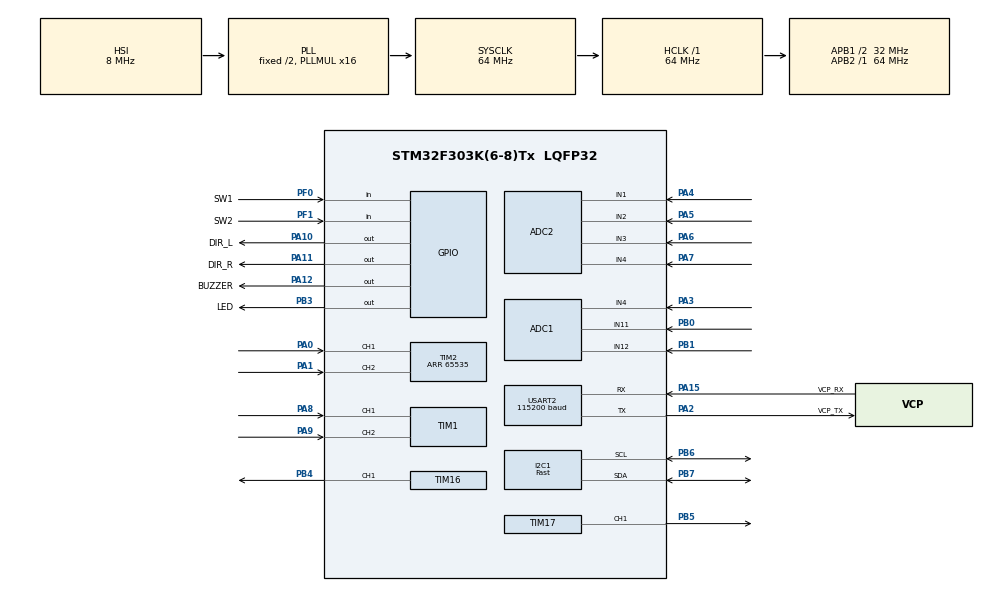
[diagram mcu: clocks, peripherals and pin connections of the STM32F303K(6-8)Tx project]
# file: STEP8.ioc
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ADC1.Channel-3\#ChannelRegularConversion=ADC_CHANNEL_4
ADC1.Channel-4\#ChannelRegularConversion=ADC_CHANNEL_11
ADC1.Channel-5\#ChannelRegularConversion=ADC_CHANNEL_12
ADC1.ContinuousConvMode=DISABLE
ADC1.DMAContinuousRequests=ENABLE
ADC1.DiscontinuousConvMode=ENABLE
ADC1.ExternalTrigConv=ADC_EXTERNALTRIGCONV_T3_TRGO
ADC1.NbrOfConversion=3
ADC1.NbrOfConversionFlag=1
ADC1.NbrOfDiscConversion=3
ADC1.Offset-3\#ChannelRegularConversion=0
ADC1.Offset-4\#ChannelRegularConversion=0
ADC1.Offset-5\#ChannelRegularConversion=0
ADC1.OffsetNumber-3\#ChannelRegularConversion=ADC_OFFSET_NONE
ADC1.OffsetNumber-4\#ChannelRegularConversion=ADC_OFFSET_NONE
ADC1.OffsetNumber-5\#ChannelRegularConversion=ADC_OFFSET_NONE
ADC1.Rank-3\#ChannelRegularConversion=1
ADC1.Rank-4\#ChannelRegularConversion=2
ADC1.Rank-5\#ChannelRegularConversion=3
ADC1.SamplingTime-3\#ChannelRegularConversion=ADC_SAMPLETIME_4CYCLES_5
ADC1.SamplingTime-4\#ChannelRegularConversion=ADC_SAMPLETIME_4CYCLES_5
ADC1.SamplingTime-5\#ChannelRegularConversion=ADC_SAMPLETIME_4CYCLES_5
ADC1.SubFamily=STM32F303x8
ADC1.master=1
ADC2.Channel-3\#ChannelRegularConversion=ADC_CHANNEL_1
ADC2.Channel-4\#ChannelRegularConversion=ADC_CHANNEL_2
ADC2.Channel-5\#ChannelRegularConversion=ADC_CHANNEL_3
ADC2.Channel-6\#ChannelRegularConversion=ADC_CHANNEL_4
ADC2.ContinuousConvMode=DISABLE
ADC2.DMAContinuousRequests=ENABLE
ADC2.DiscontinuousConvMode=ENABLE
ADC2.ExternalTrigConv=ADC_EXTERNALTRIGCONV_T3_TRGO
ADC2.NbrOfConversion=4
ADC2.NbrOfConversionFlag=1
ADC2.NbrOfDiscConversion=4
ADC2.Offset-3\#ChannelRegularConversion=0
ADC2.Offset-4\#ChannelRegularConversion=0
ADC2.Offset-5\#ChannelRegularConversion=0
ADC2.Offset-6\#ChannelRegularConversion=0
ADC2.OffsetNumber-3\#ChannelRegularConversion=ADC_OFFSET_NONE
ADC2.OffsetNumber-4\#ChannelRegularConversion=ADC_OFFSET_NONE
ADC2.OffsetNumber-5\#ChannelRegularConversion=ADC_OFFSET_NONE
ADC2.OffsetNumber-6\#ChannelRegularConversion=ADC_OFFSET_NONE
ADC2.Rank-3\#ChannelRegularConversion=1
ADC2.Rank-4\#ChannelRegularConversion=2
ADC2.Rank-5\#ChannelRegularConversion=3
ADC2.Rank-6\#ChannelRegularConversion=4
ADC2.SamplingTime-3\#ChannelRegularConversion=ADC_SAMPLETIME_4CYCLES_5
ADC2.SamplingTime-4\#ChannelRegularConversion=ADC_SAMPLETIME_4CYCLES_5
ADC2.SamplingTime-5\#ChannelRegularConversion=ADC_SAMPLETIME_4CYCLES_5
ADC2.SamplingTime-6\#ChannelRegularConversion=ADC_SAMPLETIME_4CYCLES_5
ADC2.SubFamily=STM32F303x8
Dma.ADC1.0.Direction=DMA_PERIPH_TO_MEMORY
Dma.ADC1.0.Instance=DMA1_Channel1
Dma.ADC1.0.MemDataAlignment=DMA_MDATAALIGN_HALFWORD
Dma.ADC1.0.MemInc=DMA_MINC_ENABLE
Dma.ADC1.0.Mode=DMA_CIRCULAR
Dma.ADC1.0.PeriphDataAlignment=DMA_PDATAALIGN_HALFWORD
Dma.ADC1.0.PeriphInc=DMA_PINC_DISABLE
Dma.ADC1.0.Priority=DMA_PRIORITY_LOW
Dma.ADC2.1.Direction=DMA_PERIPH_TO_MEMORY
Dma.ADC2.1.Instance=DMA1_Channel2
Dma.ADC2.1.MemDataAlignment=DMA_MDATAALIGN_HALFWORD
Dma.ADC2.1.MemInc=DMA_MINC_ENABLE
Dma.ADC2.1.Mode=DMA_CIRCULAR
Dma.ADC2.1.PeriphDataAlignment=DMA_PDATAALIGN_HALFWORD
Dma.ADC2.1.PeriphInc=DMA_PINC_DISABLE
Dma.ADC2.1.Priority=DMA_PRIORITY_LOW
Dma.I2C1_RX.2.Direction=DMA_PERIPH_TO_MEMORY
Dma.I2C1_RX.2.Instance=DMA1_Channel3
Dma.I2C1_RX.2.MemDataAlignment=DMA_MDATAALIGN_BYTE
Dma.I2C1_RX.2.MemInc=DMA_MINC_ENABLE
Dma.I2C1_RX.2.Mode=DMA_NORMAL
Dma.I2C1_RX.2.PeriphDataAlignment=DMA_PDATAALIGN_BYTE
Dma.I2C1_RX.2.PeriphInc=DMA_PINC_DISABLE
Dma.I2C1_RX.2.Priority=DMA_PRIORITY_LOW
Dma.I2C1_TX.3.Direction=DMA_MEMORY_TO_PERIPH
Dma.I2C1_TX.3.Instance=DMA1_Channel4
Dma.I2C1_TX.3.MemDataAlignment=DMA_MDATAALIGN_BYTE
Dma.I2C1_TX.3.MemInc=DMA_MINC_ENABLE
Dma.I2C1_TX.3.Mode=DMA_NORMAL
Dma.I2C1_TX.3.PeriphDataAlignment=DMA_PDATAALIGN_BYTE
Dma.I2C1_TX.3.PeriphInc=DMA_PINC_DISABLE
Dma.I2C1_TX.3.Priority=DMA_PRIORITY_LOW
Dma.Request0=ADC1
Dma.Request1=ADC2
Dma.Request2=I2C1_RX
Dma.Request3=I2C1_TX
I2C1.Analog_Filter=I2C_ANALOGFILTER_ENABLE
I2C1.I2C_Speed_Mode=I2C_Fast
I2C1.Speed=400
I2C1.Timing=0x0000020B
Mcu.Family=STM32F3
Mcu.Name=STM32F303K(6-8)Tx
Mcu.Package=LQFP32
NVIC.DMA1_Channel1_IRQn=true\:0\:0\:false\:false\:true\:false\:true\:true
NVIC.DMA1_Channel2_IRQn=true\:0\:0\:false\:false\:true\:false\:true\:true
NVIC.DMA1_Channel3_IRQn=true\:0\:0\:false\:false\:true\:false\:true\:true
NVIC.DMA1_Channel4_IRQn=true\:0\:0\:false\:false\:true\:false\:true\:true
NVIC.I2C1_EV_IRQn=true\:0\:0\:false\:false\:true\:true\:true\:true
NVIC.PriorityGroup=NVIC_PRIORITYGROUP_4
NVIC.TIM6_DAC1_IRQn=true\:0\:0\:false\:false\:true\:true\:true\:true
NVIC.TIM7_DAC2_IRQn=true\:0\:0\:false\:false\:true\:true\:true\:true
PA0.Signal=S_TIM2_CH1_ETR
PA1.Signal=S_TIM2_CH2
PA10.GPIO_Label=DIR_L
PA10.Signal=GPIO_Output
PA11.GPIO_Label=DIR_R
PA11.Signal=GPIO_Output
PA12.GPIO_Label=BUZZER
PA12.Signal=GPIO_Output
PA13.GPIO_Label=SWDIO
PA13.Mode=Serial_Wire
PA13.Signal=SYS_JTMS-SWDIO
PA14.GPIO_Label=SWCLK
PA14.Mode=Serial_Wire
PA14.Signal=SYS_JTCK-SWCLK
PA15.GPIO_Label=VCP_RX
PA15.Mode=Asynchronous
PA15.Signal=USART2_RX
PA2.GPIO_Label=VCP_TX
PA2.Mode=Asynchronous
PA2.Signal=USART2_TX
PA3.Mode=IN4-Single-Ended
PA3.Signal=ADC1_IN4
PA4.Mode=IN1-Single-Ended
PA4.Signal=ADC2_IN1
PA5.Mode=IN2-Single-Ended
PA5.Signal=ADC2_IN2
PA6.Mode=IN3-Single-Ended
PA6.Signal=ADC2_IN3
PA7.Mode=IN4-Single-Ended
PA7.Signal=ADC2_IN4
PA8.Signal=S_TIM1_CH1
PA9.Signal=S_TIM1_CH2
PB0.Mode=IN11-Single-Ended
PB0.Signal=ADC1_IN11
PB1.Mode=IN12-Single-Ended
PB1.Signal=ADC1_IN12
PB3.GPIO_Label=LED
PB3.Signal=GPIO_Output
PB4.Signal=S_TIM16_CH1
PB5.Signal=S_TIM17_CH1
PB6.GPIO_Pu=GPIO_PULLUP
PB6.Mode=I2C
PB6.Signal=I2C1_SCL
PB7.GPIO_Pu=GPIO_PULLUP
PB7.Mode=I2C
PB7.Signal=I2C1_SDA
PF0\ /\ OSC_IN.GPIO_Label=SW1
PF0\ /\ OSC_IN.GPIO_PuPd=GPIO_PULLUP
PF0\ /\ OSC_IN.Signal=GPIO_Input
PF1\ /\ OSC_OUT.GPIO_Label=SW2
PF1\ /\ OSC_OUT.GPIO_PuPd=GPIO_PULLUP
PF1\ /\ OSC_OUT.Signal=GPIO_Input
ProjectManager.HeapSize=0x200
ProjectManager.StackSize=0x400
ProjectManager.TargetToolchain=STM32CubeIDE
RCC.AHBFreq_Value=64000000
RCC.APB1CLKDivider=RCC_HCLK_DIV2
RCC.APB1Freq_Value=32000000
RCC.APB1TimFreq_Value=64000000
RCC.APB2Freq_Value=64000000
RCC.APB2TimFreq_Value=64000000
RCC.CortexFreq_Value=64000000
RCC.HCLKFreq_Value=64000000
RCC.HSE_VALUE=8000000
RCC.HSI_VALUE=8000000
RCC.PLLMUL=RCC_PLL_MUL16
RCC.SYSCLKFreq_VALUE=64000000
RCC.SYSCLKSourceVirtual=RCC_SYSCLKSOURCE_PLLCLK
SH.S_TIM16_CH1.0=TIM16_CH1,PWM Generation1 CH1
SH.S_TIM17_CH1.0=TIM17_CH1,PWM Generation1 CH1
SH.S_TIM1_CH1.0=TIM1_CH1,Encoder_Interface
SH.S_TIM1_CH2.0=TIM1_CH2,Encoder_Interface
SH.S_TIM2_CH1_ETR.0=TIM2_CH1,Encoder_Interface
SH.S_TIM2_CH2.0=TIM2_CH2,Encoder_Interface
TIM1.AutoReloadPreload=TIM_AUTORELOAD_PRELOAD_ENABLE
TIM1.EncoderMode=TIM_ENCODERMODE_TI12
TIM16.AutoReloadPreload=TIM_AUTORELOAD_PRELOAD_ENABLE
TIM16.Channel=TIM_CHANNEL_1
TIM16.Period=3199
TIM16.Pulse=599
TIM17.AutoReloadPreload=TIM_AUTORELOAD_PRELOAD_ENABLE
TIM17.Channel=TIM_CHANNEL_1
TIM17.Period=3199
TIM17.Prescaler=0
TIM17.Pulse=599
TIM2.AutoReloadPreload=TIM_AUTORELOAD_PRELOAD_ENABLE
TIM2.EncoderMode=TIM_ENCODERMODE_TI12
TIM2.Period=65535
TIM3.AutoReloadPreload=TIM_AUTORELOAD_PRELOAD_ENABLE
TIM3.Period=999
TIM3.Prescaler=63
TIM3.TIM_MasterOutputTrigger=TIM_TRGO_UPDATE
TIM6.AutoReloadPreload=TIM_AUTORELOAD_PRELOAD_ENABLE
TIM6.Period=499
TIM6.Prescaler=63
TIM7.AutoReloadPreload=TIM_AUTORELOAD_PRELOAD_ENABLE
TIM7.Period=9999
TIM7.Prescaler=63
USART2.BaudRate=115200
USART2.VirtualMode-Asynchronous=VM_ASYNC
VP_TIM16_VS_ClockSourceINT.Mode=Enable_Timer
VP_TIM17_VS_ClockSourceINT.Mode=Enable_Timer
VP_TIM3_VS_ClockSourceINT.Mode=Internal
VP_TIM6_VS_ClockSourceINT.Mode=Enable_Timer
VP_TIM7_VS_ClockSourceINT.Mode=Enable_Timer
board=NUCLEO-F303K8

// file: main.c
/* USER CODE BEGIN Header */
/**
  ******************************************************************************
  * @file           : main.c
  * @brief          : Main program body
  ******************************************************************************
  * @attention
  *
  * Copyright (c) 2020 RT Corporation
  * License: Apache License, Version 2.0
  * https://www.apache.org/licenses/LICENSE-2.0
  *
  * This file is licensed the Apache License, Version 2.0.
  * This file is based on the auto generated template .c file
  * released by STMicroelectronics licensed under the BSD 3-Clause License.
  *
  *=*=*=*=*=*=*=*=*=*=*=*=*=*=*=*=*=*=*=*=*=*=*=*=*=*=*=*=*=*=*=*=*=*=*=*=*=*=
  * <h2><center>&copy; Copyright (c) 2020 STMicroelectronics.
  * All rights reserved.</center></h2>
  *
  * This software component is licensed by ST under BSD 3-Clause license,
  * the "License"; You may not use this file except in compliance with the
  * License. You may obtain a copy of the License at:
  *                        opensource.org/licenses/BSD-3-Clause
  *=*=*=*=*=*=*=*=*=*=*=*=*=*=*=*=*=*=*=*=*=*=*=*=*=*=*=*=*=*=*=*=*=*=*=*=*=*=
  *
  ******************************************************************************
  */
/* USER CODE END Header */
#include "main.h"

/* USER CODE BEGIN Includes */
#include "stdio.h"
#include "stdlib.h"
/* USER CODE END Includes */

/* USER CODE BEGIN PD */
#define CW_R 0
#define CCW_R 1
#define CW_L 1
#define CCW_L 0
/* USER CODE END PD */

ADC_HandleTypeDef hadc1;
ADC_HandleTypeDef hadc2;
DMA_HandleTypeDef hdma_adc1;
DMA_HandleTypeDef hdma_adc2;

I2C_HandleTypeDef hi2c1;
DMA_HandleTypeDef hdma_i2c1_rx;
DMA_HandleTypeDef hdma_i2c1_tx;

TIM_HandleTypeDef htim1;
TIM_HandleTypeDef htim2;
TIM_HandleTypeDef htim3;
TIM_HandleTypeDef htim6;
TIM_HandleTypeDef htim7;
TIM_HandleTypeDef htim16;
TIM_HandleTypeDef htim17;

UART_HandleTypeDef huart2;

void SystemClock_Config(void);
static void MX_GPIO_Init(void);
static void MX_DMA_Init(void);
static void MX_USART2_UART_Init(void);
static void MX_I2C1_Init(void);
static void MX_TIM2_Init(void);
static void MX_TIM17_Init(void);
static void MX_ADC1_Init(void);
static void MX_ADC2_Init(void);
static void MX_TIM3_Init(void);
static void MX_TIM6_Init(void);
static void MX_TIM7_Init(void);
static void MX_TIM16_Init(void);
static void MX_TIM1_Init(void);
/* USER CODE BEGIN PFP */
short ADC1_data[10];
short ADC2_data[10];
short * line_l2;
short * line_l1;
short * line_r1;
short * line_r2;
short * marker_r;
short * marker_l;

long line_control;
int inside_offset = -450;
int outside_offset = -960;
int pwm_r_value = 0;
int pwm_l_value = 0;
//1 if the line is white, -1 if the line is black
int line_signed = -1;
/* USER CODE END PFP */

/* USER CODE BEGIN 0 */
int __io_putchar(int ch)
{
  HAL_UART_Transmit(&huart2, (uint8_t *)&ch, 1, 0xFFFF);
  return ch;
}
/* USER CODE END 0 */

int main(void)
{

  /* MCU Configuration--------------------------------------------------------*/

  /* Reset of all peripherals, Initializes the Flash interface and the Systick. */
  HAL_Init();

  /* Configure the system clock */
  SystemClock_Config();

  /* Initialize all configured peripherals */
  MX_GPIO_Init();
  MX_DMA_Init();
  MX_USART2_UART_Init();
  MX_I2C1_Init();
  MX_TIM2_Init();
  MX_TIM17_Init();
  MX_ADC1_Init();
  MX_ADC2_Init();
  MX_TIM3_Init();
  MX_TIM6_Init();
  MX_TIM7_Init();
  MX_TIM16_Init();
  MX_TIM1_Init();
  /* USER CODE BEGIN 2 */
  line_l2 = &ADC2_data[2];
  line_l1 = &ADC2_data[1];
  line_r1 = &ADC2_data[0];
  line_r2 = &ADC1_data[0];
  marker_r = &ADC1_data[1];
  marker_l = &ADC1_data[2];

  //ADC start
  HAL_ADC_Start_DMA(&hadc1, (uint32_t *)ADC1_data, 3);
  HAL_ADC_Start_DMA(&hadc2, (uint32_t *)ADC2_data, 4);
  HAL_TIM_Base_Start(&htim3);  //1kHz
  //motor start
  HAL_GPIO_WritePin(DIR_R_GPIO_Port, DIR_R_Pin, CW_R);
  HAL_GPIO_WritePin(DIR_L_GPIO_Port, DIR_L_Pin, CW_L);
  TIM16->CCR1 = 0;
  TIM17->CCR1 = 0;
  HAL_TIM_PWM_Start(&htim16, TIM_CHANNEL_1);
  HAL_TIM_PWM_Start(&htim17, TIM_CHANNEL_1);

  for (int i = 0; i < 2; i++) {
    HAL_GPIO_WritePin(LED_GPIO_Port, LED_Pin, 1);
    HAL_Delay(100);
    HAL_GPIO_WritePin(LED_GPIO_Port, LED_Pin, 0);
    HAL_Delay(100);
  }

  while (1) {
    if (HAL_GPIO_ReadPin(SW2_GPIO_Port, SW2_Pin) == 0) {
      HAL_GPIO_WritePin(BUZZER_GPIO_Port, BUZZER_Pin, 1);
      HAL_Delay(100);
      HAL_GPIO_WritePin(BUZZER_GPIO_Port, BUZZER_Pin, 0);
      HAL_Delay(100);
      while (1) {
        printf(
          "\n\r LL2=%d LL1=%d LR1=%d LR2=%d inside_offset=%d outside_offset=%d ML=%d MR=%d",
          ADC2_data[2], ADC2_data[1], ADC2_data[0], ADC1_data[0], (*line_l1 - *line_r1),
          (*line_l2 - *line_r2), *marker_l, *marker_r);
        HAL_Delay(100);
        if (HAL_GPIO_ReadPin(SW2_GPIO_Port, SW2_Pin) == 0) {
          HAL_Delay(200);
          break;
        }
      }
    }
    if (HAL_GPIO_ReadPin(SW1_GPIO_Port, SW1_Pin) == 0) {
      HAL_GPIO_WritePin(LED_GPIO_Port, LED_Pin, 1);
      for (int i = 0; i < 2; i++) {
        HAL_GPIO_WritePin(BUZZER_GPIO_Port, BUZZER_Pin, 1);
        HAL_Delay(70);
        HAL_GPIO_WritePin(BUZZER_GPIO_Port, BUZZER_Pin, 0);
        HAL_Delay(70);
      }
      break;
    }
  }
  /* USER CODE END 2 */

  /* Infinite loop */
  /* USER CODE BEGIN WHILE */
  while (1) {
    if (line_signed == 1) {
      if (*marker_r > 300) {
        HAL_GPIO_WritePin(LED_GPIO_Port, LED_Pin, 0);
        TIM16->CCR1 = 0;
        TIM17->CCR1 = 0;
        HAL_GPIO_WritePin(BUZZER_GPIO_Port, BUZZER_Pin, 1);
        HAL_Delay(100);
        HAL_GPIO_WritePin(BUZZER_GPIO_Port, BUZZER_Pin, 0);
        while (1) {
          if (HAL_GPIO_ReadPin(SW1_GPIO_Port, SW1_Pin) == 0) {
            HAL_GPIO_WritePin(LED_GPIO_Port, LED_Pin, 1);
            break;
          }
        }
      }
    } else {
      if (*marker_r < 100) {
        HAL_GPIO_WritePin(LED_GPIO_Port, LED_Pin, 0);
        TIM16->CCR1 = 0;
        TIM17->CCR1 = 0;
        HAL_GPIO_WritePin(BUZZER_GPIO_Port, BUZZER_Pin, 1);
        HAL_Delay(100);
        HAL_GPIO_WritePin(BUZZER_GPIO_Port, BUZZER_Pin, 0);
        while (1) {
          if (HAL_GPIO_ReadPin(SW1_GPIO_Port, SW1_Pin) == 0) {
            HAL_GPIO_WritePin(LED_GPIO_Port, LED_Pin, 1);
            break;
          }
        }
      }
    }

    line_control =
      (*line_l1 - *line_r1 - inside_offset) + 2 * (*line_l2 - *line_r2 - outside_offset);
    pwm_l_value = 1000 - line_signed * line_control / 3;
    pwm_r_value = 1000 + line_signed * line_control / 3;

    if (pwm_l_value < 0) {
      HAL_GPIO_WritePin(DIR_L_GPIO_Port, DIR_L_Pin, CCW_L);
    } else {
      HAL_GPIO_WritePin(DIR_L_GPIO_Port, DIR_L_Pin, CW_L);
    }
    pwm_l_value = abs(pwm_l_value);
    if (pwm_l_value > 3199) {
      pwm_l_value = 3199;
    }
    if (pwm_l_value <= 0) {
      pwm_l_value = 0;
    }
    TIM16->CCR1 = pwm_l_value;

    if (pwm_r_value < 0) {
      HAL_GPIO_WritePin(DIR_R_GPIO_Port, DIR_R_Pin, CCW_R);
    } else {
      HAL_GPIO_WritePin(DIR_R_GPIO_Port, DIR_R_Pin, CW_R);
    }
    pwm_r_value = abs(pwm_r_value);
    if (pwm_r_value > 3199) {
      pwm_r_value = 3199;
    }
    if (pwm_r_value <= 0) {
      pwm_r_value = 0;
    }
    TIM17->CCR1 = pwm_r_value;
    /* USER CODE END WHILE */

  }
}

void SystemClock_Config(void)
{
  RCC_OscInitTypeDef RCC_OscInitStruct = {0};
  RCC_ClkInitTypeDef RCC_ClkInitStruct = {0};
  RCC_PeriphCLKInitTypeDef PeriphClkInit = {0};

  /** Initializes the RCC Oscillators according to the specified parameters
  * in the RCC_OscInitTypeDef structure.
  */
  RCC_OscInitStruct.OscillatorType = RCC_OSCILLATORTYPE_HSI;
  RCC_OscInitStruct.HSIState = RCC_HSI_ON;
  RCC_OscInitStruct.HSICalibrationValue = RCC_HSICALIBRATION_DEFAULT;
  RCC_OscInitStruct.PLL.PLLState = RCC_PLL_ON;
  RCC_OscInitStruct.PLL.PLLSource = RCC_PLLSOURCE_HSI;
  RCC_OscInitStruct.PLL.PLLMUL = RCC_PLL_MUL16;
  if (HAL_RCC_OscConfig(&RCC_OscInitStruct) != HAL_OK) {
    Error_Handler();
  }

  /** Initializes the CPU, AHB and APB buses clocks
  */
  RCC_ClkInitStruct.ClockType =
    RCC_CLOCKTYPE_HCLK | RCC_CLOCKTYPE_SYSCLK | RCC_CLOCKTYPE_PCLK1 | RCC_CLOCKTYPE_PCLK2;
  RCC_ClkInitStruct.SYSCLKSource = RCC_SYSCLKSOURCE_PLLCLK;
  RCC_ClkInitStruct.AHBCLKDivider = RCC_SYSCLK_DIV1;
  RCC_ClkInitStruct.APB1CLKDivider = RCC_HCLK_DIV2;
  RCC_ClkInitStruct.APB2CLKDivider = RCC_HCLK_DIV1;

  if (HAL_RCC_ClockConfig(&RCC_ClkInitStruct, FLASH_LATENCY_2) != HAL_OK) {
    Error_Handler();
  }
  PeriphClkInit.PeriphClockSelection =
    RCC_PERIPHCLK_I2C1 | RCC_PERIPHCLK_TIM1 | RCC_PERIPHCLK_ADC12;
  PeriphClkInit.Adc12ClockSelection = RCC_ADC12PLLCLK_DIV1;
  PeriphClkInit.I2c1ClockSelection = RCC_I2C1CLKSOURCE_HSI;
  PeriphClkInit.Tim1ClockSelection = RCC_TIM1CLK_HCLK;
  if (HAL_RCCEx_PeriphCLKConfig(&PeriphClkInit) != HAL_OK) {
    Error_Handler();
  }
}

static void MX_ADC1_Init(void)
{

  ADC_MultiModeTypeDef multimode = {0};
  ADC_ChannelConfTypeDef sConfig = {0};

  /** Common config
  */
  hadc1.Instance = ADC1;
  hadc1.Init.ClockPrescaler = ADC_CLOCK_ASYNC_DIV1;
  hadc1.Init.Resolution = ADC_RESOLUTION_12B;
  hadc1.Init.ScanConvMode = ADC_SCAN_ENABLE;
  hadc1.Init.ContinuousConvMode = DISABLE;
  hadc1.Init.DiscontinuousConvMode = ENABLE;
  hadc1.Init.NbrOfDiscConversion = 3;
  hadc1.Init.ExternalTrigConvEdge = ADC_EXTERNALTRIGCONVEDGE_RISING;
  hadc1.Init.ExternalTrigConv = ADC_EXTERNALTRIGCONV_T3_TRGO;
  hadc1.Init.DataAlign = ADC_DATAALIGN_RIGHT;
  hadc1.Init.NbrOfConversion = 3;
  hadc1.Init.DMAContinuousRequests = ENABLE;
  hadc1.Init.EOCSelection = ADC_EOC_SINGLE_CONV;
  hadc1.Init.LowPowerAutoWait = DISABLE;
  hadc1.Init.Overrun = ADC_OVR_DATA_OVERWRITTEN;
  if (HAL_ADC_Init(&hadc1) != HAL_OK) {
    Error_Handler();
  }

  /** Configure the ADC multi-mode
  */
  multimode.Mode = ADC_MODE_INDEPENDENT;
  if (HAL_ADCEx_MultiModeConfigChannel(&hadc1, &multimode) != HAL_OK) {
    Error_Handler();
  }

  /** Configure Regular Channel
  */
  sConfig.Channel = ADC_CHANNEL_4;
  sConfig.Rank = ADC_REGULAR_RANK_1;
  sConfig.SingleDiff = ADC_SINGLE_ENDED;
  sConfig.SamplingTime = ADC_SAMPLETIME_4CYCLES_5;
  sConfig.OffsetNumber = ADC_OFFSET_NONE;
  sConfig.Offset = 0;
  if (HAL_ADC_ConfigChannel(&hadc1, &sConfig) != HAL_OK) {
    Error_Handler();
  }

  /** Configure Regular Channel
  */
  sConfig.Channel = ADC_CHANNEL_11;
  sConfig.Rank = ADC_REGULAR_RANK_2;
  if (HAL_ADC_ConfigChannel(&hadc1, &sConfig) != HAL_OK) {
    Error_Handler();
  }

  /** Configure Regular Channel
  */
  sConfig.Channel = ADC_CHANNEL_12;
  sConfig.Rank = ADC_REGULAR_RANK_3;
  if (HAL_ADC_ConfigChannel(&hadc1, &sConfig) != HAL_OK) {
    Error_Handler();
  }
}

static void MX_ADC2_Init(void)
{

  ADC_ChannelConfTypeDef sConfig = {0};

  /** Common config
  */
  hadc2.Instance = ADC2;
  hadc2.Init.ClockPrescaler = ADC_CLOCK_ASYNC_DIV1;
  hadc2.Init.Resolution = ADC_RESOLUTION_12B;
  hadc2.Init.ScanConvMode = ADC_SCAN_ENABLE;
  hadc2.Init.ContinuousConvMode = DISABLE;
  hadc2.Init.DiscontinuousConvMode = ENABLE;
  hadc2.Init.NbrOfDiscConversion = 4;
  hadc2.Init.ExternalTrigConvEdge = ADC_EXTERNALTRIGCONVEDGE_RISING;
  hadc2.Init.ExternalTrigConv = ADC_EXTERNALTRIGCONV_T3_TRGO;
  hadc2.Init.DataAlign = ADC_DATAALIGN_RIGHT;
  hadc2.Init.NbrOfConversion = 4;
  hadc2.Init.DMAContinuousRequests = ENABLE;
  hadc2.Init.EOCSelection = ADC_EOC_SINGLE_CONV;
  hadc2.Init.LowPowerAutoWait = DISABLE;
  hadc2.Init.Overrun = ADC_OVR_DATA_OVERWRITTEN;
  if (HAL_ADC_Init(&hadc2) != HAL_OK) {
    Error_Handler();
  }

  /** Configure Regular Channel
  */
  sConfig.Channel = ADC_CHANNEL_1;
  sConfig.Rank = ADC_REGULAR_RANK_1;
  sConfig.SingleDiff = ADC_SINGLE_ENDED;
  sConfig.SamplingTime = ADC_SAMPLETIME_4CYCLES_5;
  sConfig.OffsetNumber = ADC_OFFSET_NONE;
  sConfig.Offset = 0;
  if (HAL_ADC_ConfigChannel(&hadc2, &sConfig) != HAL_OK) {
    Error_Handler();
  }

  /** Configure Regular Channel
  */
  sConfig.Channel = ADC_CHANNEL_2;
  sConfig.Rank = ADC_REGULAR_RANK_2;
  if (HAL_ADC_ConfigChannel(&hadc2, &sConfig) != HAL_OK) {
    Error_Handler();
  }

  /** Configure Regular Channel
  */
  sConfig.Channel = ADC_CHANNEL_3;
  sConfig.Rank = ADC_REGULAR_RANK_3;
  if (HAL_ADC_ConfigChannel(&hadc2, &sConfig) != HAL_OK) {
    Error_Handler();
  }

  /** Configure Regular Channel
  */
  sConfig.Channel = ADC_CHANNEL_4;
  sConfig.Rank = ADC_REGULAR_RANK_4;
  if (HAL_ADC_ConfigChannel(&hadc2, &sConfig) != HAL_OK) {
    Error_Handler();
  }
}

static void MX_I2C1_Init(void)
{

  hi2c1.Instance = I2C1;
  hi2c1.Init.Timing = 0x0000020B;
  hi2c1.Init.OwnAddress1 = 0;
  hi2c1.Init.AddressingMode = I2C_ADDRESSINGMODE_7BIT;
  hi2c1.Init.DualAddressMode = I2C_DUALADDRESS_DISABLE;
  hi2c1.Init.OwnAddress2 = 0;
  hi2c1.Init.OwnAddress2Masks = I2C_OA2_NOMASK;
  hi2c1.Init.GeneralCallMode = I2C_GENERALCALL_DISABLE;
  hi2c1.Init.NoStretchMode = I2C_NOSTRETCH_DISABLE;
  if (HAL_I2C_Init(&hi2c1) != HAL_OK) {
    Error_Handler();
  }

  /** Configure Analogue filter
  */
  if (HAL_I2CEx_ConfigAnalogFilter(&hi2c1, I2C_ANALOGFILTER_ENABLE) != HAL_OK) {
    Error_Handler();
  }

  /** Configure Digital filter
  */
  if (HAL_I2CEx_ConfigDigitalFilter(&hi2c1, 0) != HAL_OK) {
    Error_Handler();
  }
}

static void MX_TIM1_Init(void)
{

  TIM_Encoder_InitTypeDef sConfig = {0};
  TIM_MasterConfigTypeDef sMasterConfig = {0};

  htim1.Instance = TIM1;
  htim1.Init.Prescaler = 0;
  htim1.Init.CounterMode = TIM_COUNTERMODE_UP;
  htim1.Init.Period = 65535;
  htim1.Init.ClockDivision = TIM_CLOCKDIVISION_DIV1;
  htim1.Init.RepetitionCounter = 0;
  htim1.Init.AutoReloadPreload = TIM_AUTORELOAD_PRELOAD_ENABLE;
  sConfig.EncoderMode = TIM_ENCODERMODE_TI12;
  sConfig.IC1Polarity = TIM_ICPOLARITY_RISING;
  sConfig.IC1Selection = TIM_ICSELECTION_DIRECTTI;
  sConfig.IC1Prescaler = TIM_ICPSC_DIV1;
  sConfig.IC1Filter = 0;
  sConfig.IC2Polarity = TIM_ICPOLARITY_RISING;
  sConfig.IC2Selection = TIM_ICSELECTION_DIRECTTI;
  sConfig.IC2Prescaler = TIM_ICPSC_DIV1;
  sConfig.IC2Filter = 0;
  if (HAL_TIM_Encoder_Init(&htim1, &sConfig) != HAL_OK) {
    Error_Handler();
  }
  sMasterConfig.MasterOutputTrigger = TIM_TRGO_RESET;
  sMasterConfig.MasterOutputTrigger2 = TIM_TRGO2_RESET;
  sMasterConfig.MasterSlaveMode = TIM_MASTERSLAVEMODE_DISABLE;
  if (HAL_TIMEx_MasterConfigSynchronization(&htim1, &sMasterConfig) != HAL_OK) {
    Error_Handler();
  }
}

static void MX_TIM2_Init(void)
{

  TIM_Encoder_InitTypeDef sConfig = {0};
  TIM_MasterConfigTypeDef sMasterConfig = {0};

  htim2.Instance = TIM2;
  htim2.Init.Prescaler = 0;
  htim2.Init.CounterMode = TIM_COUNTERMODE_UP;
  htim2.Init.Period = 65535;
  htim2.Init.ClockDivision = TIM_CLOCKDIVISION_DIV1;
  htim2.Init.AutoReloadPreload = TIM_AUTORELOAD_PRELOAD_ENABLE;
  sConfig.EncoderMode = TIM_ENCODERMODE_TI12;
  sConfig.IC1Polarity = TIM_ICPOLARITY_RISING;
  sConfig.IC1Selection = TIM_ICSELECTION_DIRECTTI;
  sConfig.IC1Prescaler = TIM_ICPSC_DIV1;
  sConfig.IC1Filter = 0;
  sConfig.IC2Polarity = TIM_ICPOLARITY_RISING;
  sConfig.IC2Selection = TIM_ICSELECTION_DIRECTTI;
  sConfig.IC2Prescaler = TIM_ICPSC_DIV1;
  sConfig.IC2Filter = 0;
  if (HAL_TIM_Encoder_Init(&htim2, &sConfig) != HAL_OK) {
    Error_Handler();
  }
  sMasterConfig.MasterOutputTrigger = TIM_TRGO_RESET;
  sMasterConfig.MasterSlaveMode = TIM_MASTERSLAVEMODE_DISABLE;
  if (HAL_TIMEx_MasterConfigSynchronization(&htim2, &sMasterConfig) != HAL_OK) {
    Error_Handler();
  }
}

static void MX_TIM3_Init(void)
{

  TIM_ClockConfigTypeDef sClockSourceConfig = {0};
  TIM_MasterConfigTypeDef sMasterConfig = {0};

  htim3.Instance = TIM3;
  htim3.Init.Prescaler = 63;
  htim3.Init.CounterMode = TIM_COUNTERMODE_UP;
  htim3.Init.Period = 999;
  htim3.Init.ClockDivision = TIM_CLOCKDIVISION_DIV1;
  htim3.Init.AutoReloadPreload = TIM_AUTORELOAD_PRELOAD_ENABLE;
  if (HAL_TIM_Base_Init(&htim3) != HAL_OK) {
    Error_Handler();
  }
  sClockSourceConfig.ClockSource = TIM_CLOCKSOURCE_INTERNAL;
  if (HAL_TIM_ConfigClockSource(&htim3, &sClockSourceConfig) != HAL_OK) {
    Error_Handler();
  }
  sMasterConfig.MasterOutputTrigger = TIM_TRGO_UPDATE;
  sMasterConfig.MasterSlaveMode = TIM_MASTERSLAVEMODE_DISABLE;
  if (HAL_TIMEx_MasterConfigSynchronization(&htim3, &sMasterConfig) != HAL_OK) {
    Error_Handler();
  }
}

static void MX_TIM6_Init(void)
{

  TIM_MasterConfigTypeDef sMasterConfig = {0};

  htim6.Instance = TIM6;
  htim6.Init.Prescaler = 63;
  htim6.Init.CounterMode = TIM_COUNTERMODE_UP;
  htim6.Init.Period = 499;
  htim6.Init.AutoReloadPreload = TIM_AUTORELOAD_PRELOAD_ENABLE;
  if (HAL_TIM_Base_Init(&htim6) != HAL_OK) {
    Error_Handler();
  }
  sMasterConfig.MasterOutputTrigger = TIM_TRGO_RESET;
  sMasterConfig.MasterSlaveMode = TIM_MASTERSLAVEMODE_DISABLE;
  if (HAL_TIMEx_MasterConfigSynchronization(&htim6, &sMasterConfig) != HAL_OK) {
    Error_Handler();
  }
}

static void MX_TIM7_Init(void)
{

  TIM_MasterConfigTypeDef sMasterConfig = {0};

  htim7.Instance = TIM7;
  htim7.Init.Prescaler = 63;
  htim7.Init.CounterMode = TIM_COUNTERMODE_UP;
  htim7.Init.Period = 9999;
  htim7.Init.AutoReloadPreload = TIM_AUTORELOAD_PRELOAD_ENABLE;
  if (HAL_TIM_Base_Init(&htim7) != HAL_OK) {
    Error_Handler();
  }
  sMasterConfig.MasterOutputTrigger = TIM_TRGO_RESET;
  sMasterConfig.MasterSlaveMode = TIM_MASTERSLAVEMODE_DISABLE;
  if (HAL_TIMEx_MasterConfigSynchronization(&htim7, &sMasterConfig) != HAL_OK) {
    Error_Handler();
  }
}

static void MX_TIM16_Init(void)
{

  TIM_OC_InitTypeDef sConfigOC = {0};
  TIM_BreakDeadTimeConfigTypeDef sBreakDeadTimeConfig = {0};

  htim16.Instance = TIM16;
  htim16.Init.Prescaler = 0;
  htim16.Init.CounterMode = TIM_COUNTERMODE_UP;
  htim16.Init.Period = 3199;
  htim16.Init.ClockDivision = TIM_CLOCKDIVISION_DIV1;
  htim16.Init.RepetitionCounter = 0;
  htim16.Init.AutoReloadPreload = TIM_AUTORELOAD_PRELOAD_ENABLE;
  if (HAL_TIM_Base_Init(&htim16) != HAL_OK) {
    Error_Handler();
  }
  if (HAL_TIM_PWM_Init(&htim16) != HAL_OK) {
    Error_Handler();
  }
  sConfigOC.OCMode = TIM_OCMODE_PWM1;
  sConfigOC.Pulse = 599;
  sConfigOC.OCPolarity = TIM_OCPOLARITY_HIGH;
  sConfigOC.OCNPolarity = TIM_OCNPOLARITY_HIGH;
  sConfigOC.OCFastMode = TIM_OCFAST_DISABLE;
  sConfigOC.OCIdleState = TIM_OCIDLESTATE_RESET;
  sConfigOC.OCNIdleState = TIM_OCNIDLESTATE_RESET;
  if (HAL_TIM_PWM_ConfigChannel(&htim16, &sConfigOC, TIM_CHANNEL_1) != HAL_OK) {
    Error_Handler();
  }
  sBreakDeadTimeConfig.OffStateRunMode = TIM_OSSR_DISABLE;
  sBreakDeadTimeConfig.OffStateIDLEMode = TIM_OSSI_DISABLE;
  sBreakDeadTimeConfig.LockLevel = TIM_LOCKLEVEL_OFF;
  sBreakDeadTimeConfig.DeadTime = 0;
  sBreakDeadTimeConfig.BreakState = TIM_BREAK_DISABLE;
  sBreakDeadTimeConfig.BreakPolarity = TIM_BREAKPOLARITY_HIGH;
  sBreakDeadTimeConfig.BreakFilter = 0;
  sBreakDeadTimeConfig.AutomaticOutput = TIM_AUTOMATICOUTPUT_DISABLE;
  if (HAL_TIMEx_ConfigBreakDeadTime(&htim16, &sBreakDeadTimeConfig) != HAL_OK) {
    Error_Handler();
  }
  HAL_TIM_MspPostInit(&htim16);
}

static void MX_TIM17_Init(void)
{

  TIM_OC_InitTypeDef sConfigOC = {0};
  TIM_BreakDeadTimeConfigTypeDef sBreakDeadTimeConfig = {0};

  htim17.Instance = TIM17;
  htim17.Init.Prescaler = 0;
  htim17.Init.CounterMode = TIM_COUNTERMODE_UP;
  htim17.Init.Period = 3199;
  htim17.Init.ClockDivision = TIM_CLOCKDIVISION_DIV1;
  htim17.Init.RepetitionCounter = 0;
  htim17.Init.AutoReloadPreload = TIM_AUTORELOAD_PRELOAD_ENABLE;
  if (HAL_TIM_Base_Init(&htim17) != HAL_OK) {
    Error_Handler();
  }
  if (HAL_TIM_PWM_Init(&htim17) != HAL_OK) {
    Error_Handler();
  }
  sConfigOC.OCMode = TIM_OCMODE_PWM1;
  sConfigOC.Pulse = 599;
  sConfigOC.OCPolarity = TIM_OCPOLARITY_HIGH;
  sConfigOC.OCNPolarity = TIM_OCNPOLARITY_HIGH;
  sConfigOC.OCFastMode = TIM_OCFAST_DISABLE;
  sConfigOC.OCIdleState = TIM_OCIDLESTATE_RESET;
  sConfigOC.OCNIdleState = TIM_OCNIDLESTATE_RESET;
  if (HAL_TIM_PWM_ConfigChannel(&htim17, &sConfigOC, TIM_CHANNEL_1) != HAL_OK) {
    Error_Handler();
  }
  sBreakDeadTimeConfig.OffStateRunMode = TIM_OSSR_DISABLE;
  sBreakDeadTimeConfig.OffStateIDLEMode = TIM_OSSI_DISABLE;
  sBreakDeadTimeConfig.LockLevel = TIM_LOCKLEVEL_OFF;
  sBreakDeadTimeConfig.DeadTime = 0;
  sBreakDeadTimeConfig.BreakState = TIM_BREAK_DISABLE;
  sBreakDeadTimeConfig.BreakPolarity = TIM_BREAKPOLARITY_HIGH;
  sBreakDeadTimeConfig.BreakFilter = 0;
  sBreakDeadTimeConfig.AutomaticOutput = TIM_AUTOMATICOUTPUT_DISABLE;
  if (HAL_TIMEx_ConfigBreakDeadTime(&htim17, &sBreakDeadTimeConfig) != HAL_OK) {
    Error_Handler();
  }
  HAL_TIM_MspPostInit(&htim17);
}

static void MX_USART2_UART_Init(void)
{

  huart2.Instance = USART2;
  huart2.Init.BaudRate = 115200;
  huart2.Init.WordLength = UART_WORDLENGTH_8B;
  huart2.Init.StopBits = UART_STOPBITS_1;
  huart2.Init.Parity = UART_PARITY_NONE;
  huart2.Init.Mode = UART_MODE_TX_RX;
  huart2.Init.HwFlowCtl = UART_HWCONTROL_NONE;
  huart2.Init.OverSampling = UART_OVERSAMPLING_16;
  huart2.Init.OneBitSampling = UART_ONE_BIT_SAMPLE_DISABLE;
  huart2.AdvancedInit.AdvFeatureInit = UART_ADVFEATURE_NO_INIT;
  if (HAL_UART_Init(&huart2) != HAL_OK) {
    Error_Handler();
  }
}

static void MX_DMA_Init(void)
{
  /* DMA controller clock enable */
  __HAL_RCC_DMA1_CLK_ENABLE();

  /* DMA interrupt init */
  /* DMA1_Channel1_IRQn interrupt configuration */
  HAL_NVIC_SetPriority(DMA1_Channel1_IRQn, 0, 0);
  HAL_NVIC_EnableIRQ(DMA1_Channel1_IRQn);
  /* DMA1_Channel2_IRQn interrupt configuration */
  HAL_NVIC_SetPriority(DMA1_Channel2_IRQn, 0, 0);
  HAL_NVIC_EnableIRQ(DMA1_Channel2_IRQn);
  /* DMA1_Channel3_IRQn interrupt configuration */
  HAL_NVIC_SetPriority(DMA1_Channel3_IRQn, 0, 0);
  HAL_NVIC_EnableIRQ(DMA1_Channel3_IRQn);
  /* DMA1_Channel4_IRQn interrupt configuration */
  HAL_NVIC_SetPriority(DMA1_Channel4_IRQn, 0, 0);
  HAL_NVIC_EnableIRQ(DMA1_Channel4_IRQn);
}

static void MX_GPIO_Init(void)
{
  GPIO_InitTypeDef GPIO_InitStruct = {0};

  /* GPIO Ports Clock Enable */
  __HAL_RCC_GPIOF_CLK_ENABLE();
  __HAL_RCC_GPIOA_CLK_ENABLE();
  __HAL_RCC_GPIOB_CLK_ENABLE();

  /*Configure GPIO pin Output Level */
  HAL_GPIO_WritePin(GPIOA, DIR_L_Pin | DIR_R_Pin | BUZZER_Pin, GPIO_PIN_RESET);

  /*Configure GPIO pin Output Level */
  HAL_GPIO_WritePin(LED_GPIO_Port, LED_Pin, GPIO_PIN_RESET);

  /*Configure GPIO pins : SW1_Pin SW2_Pin */
  GPIO_InitStruct.Pin = SW1_Pin | SW2_Pin;
  GPIO_InitStruct.Mode = GPIO_MODE_INPUT;
  GPIO_InitStruct.Pull = GPIO_PULLUP;
  HAL_GPIO_Init(GPIOF, &GPIO_InitStruct);

  /*Configure GPIO pins : DIR_L_Pin DIR_R_Pin BUZZER_Pin */
  GPIO_InitStruct.Pin = DIR_L_Pin | DIR_R_Pin | BUZZER_Pin;
  GPIO_InitStruct.Mode = GPIO_MODE_OUTPUT_PP;
  GPIO_InitStruct.Pull = GPIO_NOPULL;
  GPIO_InitStruct.Speed = GPIO_SPEED_FREQ_LOW;
  HAL_GPIO_Init(GPIOA, &GPIO_InitStruct);

  /*Configure GPIO pin : LED_Pin */
  GPIO_InitStruct.Pin = LED_Pin;
  GPIO_InitStruct.Mode = GPIO_MODE_OUTPUT_PP;
  GPIO_InitStruct.Pull = GPIO_NOPULL;
  GPIO_InitStruct.Speed = GPIO_SPEED_FREQ_LOW;
  HAL_GPIO_Init(LED_GPIO_Port, &GPIO_InitStruct);

}

void Error_Handler(void)
{
}
